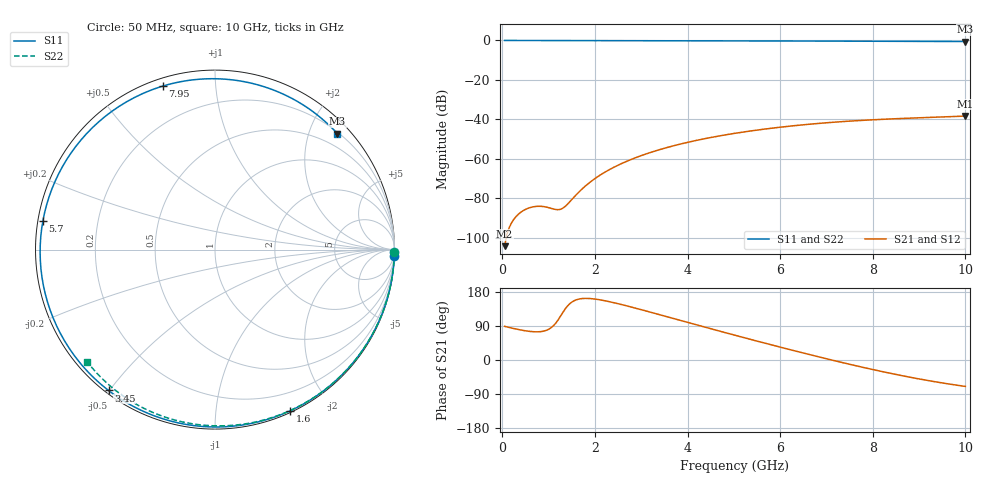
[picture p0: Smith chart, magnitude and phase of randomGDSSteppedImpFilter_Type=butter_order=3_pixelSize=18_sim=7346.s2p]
! freq	dB(S11)	phase(S11)	dB(S12)	phase(S12)
!  dB(S21)	phase(S21)	dB(S22)	phase(S22)
!S-par simulation data
#  GHz  S  DB  R 50
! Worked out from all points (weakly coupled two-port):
!   200 points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, 50 MHz to 10 GHz, reference 50 ohm
!   highest |S21| = -38.36 dB at 10 GHz (marker M1); lowest = -104.3 dB at 50 MHz (marker M2)
!   lowest |S11| = -0.5 dB at 10 GHz (marker M3), VSWR 31.73, Z = 11.4 + j125 ohm
!   |S11| at or under -10 dB: nowhere
!   |S22| runs from -0.5 to 0.0 dB; largest |S21 - S12| = 0
!   S11 on the Smith chart (normalised r, x): 50 MHz: 0, -53; 1.6 GHz: 0.02, -1.57; 3.45 GHz: 0.01, -0.50; 5.7 GHz: 0.01, +0.08; 7.95 GHz: 0.03, +0.73; 10 GHz: 0.23, +2.49
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0.05  -0.00 -2.1  -104.32 88.8  -104.32 88.8  -0.00 -0.8
0.4  -0.02 -16.9  -87.11 79.2  -87.11 79.2  -0.01 -6.4
0.75  -0.04 -31.4  -84.12 74.3  -84.12 74.3  -0.02 -12.0
1.15  -0.06 -47.6  -85.70 96.6  -85.70 96.6  -0.02 -18.3
1.5  -0.07 -61.2  -80.71 152.7  -80.71 152.7  -0.03 -23.8
1.6  -0.08 -65.0  -78.16 158.9  -78.16 158.9  -0.03 -25.4
1.75  -0.08 -70.6  -74.73 162.4  -74.73 162.4  -0.04 -27.7
2.05  -0.09 -81.4  -69.24 160.0  -69.24 160.0  -0.04 -32.3
2.45  -0.11 -95.3  -63.83 150.0  -63.83 150.0  -0.05 -38.4
2.9  -0.12 -110.1  -59.27 136.1  -59.27 136.1  -0.06 -45.2
3.4  -0.14 -125.6  -55.35 119.5  -55.35 119.5  -0.07 -52.6
3.45  -0.14 -127.1  -55.00 117.8  -55.00 117.8  -0.07 -53.4
4.25  -0.17 -150.2  -50.39 90.9  -50.39 90.9  -0.09 -64.9
5.05  -0.21 -172.1  -46.99 64.5  -46.99 64.5  -0.12 -76.1
5.7  -0.25 170.4  -44.84 43.5  -44.84 43.5  -0.14 -84.9
6.2  -0.28 157.0  -43.48 27.7  -43.48 27.7  -0.16 -91.5
6.7  -0.31 143.4  -42.33 12.3  -42.33 12.3  -0.19 -98.0
7.35  -0.35 125.2  -41.14 -7.0  -41.14 -7.0  -0.23 -106.3
7.95  -0.39 107.8  -40.29 -23.8  -40.29 -23.8  -0.27 -113.8
8.35  -0.41 95.8  -39.83 -34.4  -39.83 -34.4  -0.30 -118.7
9.15  -0.47 70.9  -39.09 -53.3  -39.09 -53.3  -0.38 -128.4
10  -0.55 43.5  -38.36 -69.7  -38.36 -69.7  -0.47 -138.7
